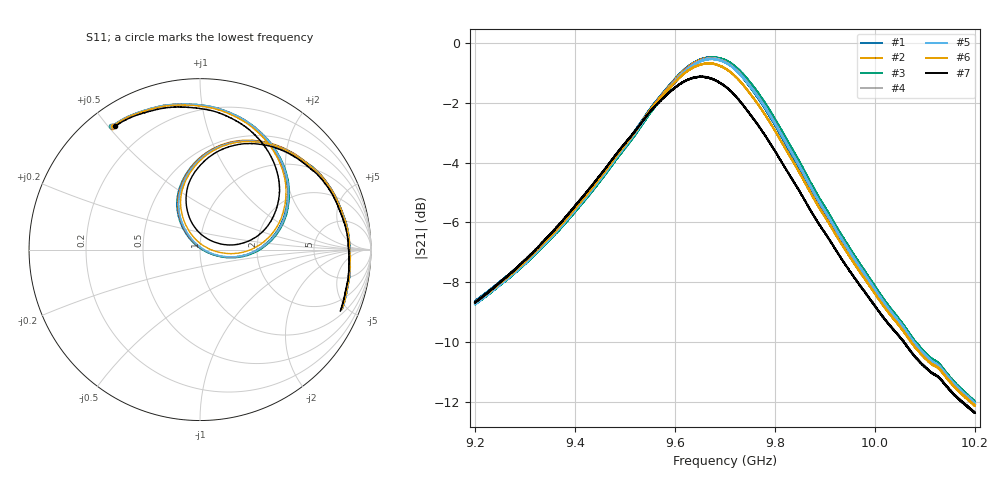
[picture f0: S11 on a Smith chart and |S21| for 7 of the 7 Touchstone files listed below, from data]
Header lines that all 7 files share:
!Agilent Technologies,N5242A,MY51221714,A.09.90.19
!Agilent N5242A: A.09.90.19
!Correction: S11(Full 2 Port(1,2))
!S21(Full 2 Port(1,2))
!S12(Full 2 Port(1,2))
!S22(Full 2 Port(1,2))
!S2P File: Measurements: S11, S21, S12, S22:
# Hz S  dB  R 50
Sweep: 9.2 GHz to 10.2 GHz
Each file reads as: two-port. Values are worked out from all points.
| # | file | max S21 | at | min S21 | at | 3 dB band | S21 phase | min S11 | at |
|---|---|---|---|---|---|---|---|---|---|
| 1 | c0_2.s2p | -0.48 dB | 9.673 GHz | -12.1 dB | 10.2 GHz | 9.495 GHz-9.824 GHz | -124 deg at 9.7 GHz | -45.2 dB | 9.672 GHz |
| 2 | c10_1.s2p | -0.49 dB | 9.675 GHz | -12.1 dB | 10.2 GHz | 9.497 GHz-9.827 GHz | -124 deg at 9.7 GHz | -40.9 dB | 9.674 GHz |
| 3 | c10_2.s2p | -0.48 dB | 9.675 GHz | -12.0 dB | 10.2 GHz | 9.502 GHz-9.832 GHz | -122 deg at 9.7 GHz | -41.1 dB | 9.679 GHz |
| 4 | c11_1.s2p | -0.51 dB | 9.675 GHz | -12.1 dB | 10.2 GHz | 9.497 GHz-9.828 GHz | -123 deg at 9.7 GHz | -38.8 dB | 9.675 GHz |
| 5 | c12_1.s2p | -0.53 dB | 9.673 GHz | -12.1 dB | 10.2 GHz | 9.497 GHz-9.828 GHz | -123 deg at 9.7 GHz | -37.5 dB | 9.676 GHz |
| 6 | c12_2.s2p | -0.68 dB | 9.669 GHz | -12.1 dB | 10.2 GHz | 9.487 GHz-9.826 GHz | -125 deg at 9.7 GHz | -30.6 dB | 9.67 GHz |
| 7 | c13_2.s2p | -1.12 dB | 9.655 GHz | -12.4 dB | 10.2 GHz | 9.464 GHz-9.818 GHz | -129 deg at 9.7 GHz | -22.4 dB | 9.656 GHz |
